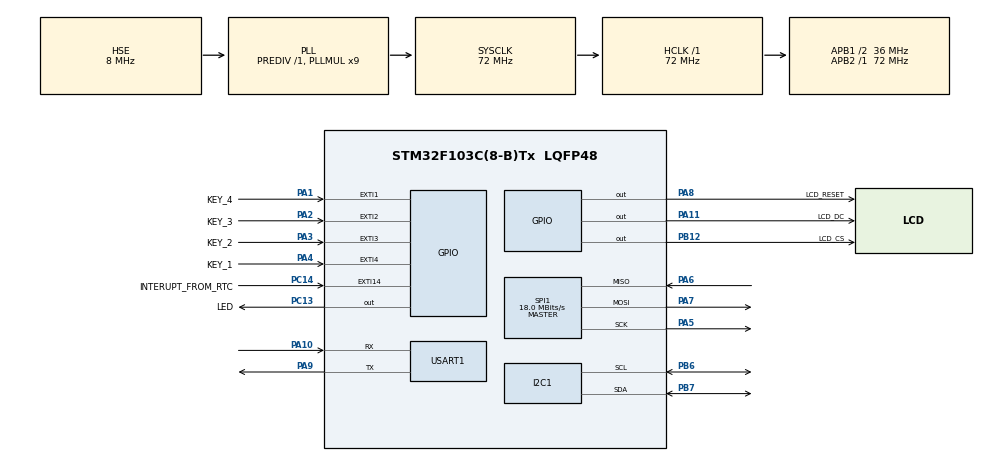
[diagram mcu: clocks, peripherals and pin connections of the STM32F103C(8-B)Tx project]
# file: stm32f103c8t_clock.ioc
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FREERTOS.BinarySemaphores01=LCD_Sem,Dynamic,NULL;set_rts_val_Sem,Dynamic,NULL;red_data_fron_rtc_Sem,Dynamic,NULL
FREERTOS.INCLUDE_eTaskGetState=1
FREERTOS.INCLUDE_uxTaskGetStackHighWaterMark=1
FREERTOS.INCLUDE_vTaskDelete=0
FREERTOS.Mutexes01=I2C_Mutex,Dynamic,NULL;read_data_rts_Mutex,Dynamic,NULL
FREERTOS.Queues01=UARTQueue,1,QUEUE_t,0,Static,UARTQueueBuffer,UARTQueueControlBlock;buttonQueue,2,uint16_t,0,Dynamic,NULL,NULL;THPQueue,2,QUEUE_BME280,0,Static,THPQueueBuffer,THPQueueControlBlock;rtc_queue,1,QUEUE_RTC,0,Static,rtc_queueBuffer,rtc_queueControlBlock;new_rtc_queue,2,QUEUE_NEW_RTC,0,Static,new_rtc_queueBuffer,new_rtc_queueControlBlock;QUEUE_RTC_VAL,2,QUEUE_RTC_VAL,0,Static,nev_val_queueBuffer,nev_val_queueControlBlock
FREERTOS.Tasks01=defaultTask,27,128,StartDefaultTask,Default,NULL,Dynamic,NULL,NULL;RTC_DS3231_Task,27,380,start_RTC_DS3231_Task,Default,NULL,Dynamic,NULL,NULL;BPE280_Task,28,200,start_BPE280_Task,Default,NULL,Dynamic,NULL,NULL;SET_RTS_TASK,27,380,start_SET_RTS_TASK,Default,NULL,Dynamic,NULL,NULL;UART_USB_Task,27,320,start_UART_USB_Task,Default,NULL,Dynamic,NULL,NULL;LCD_Task,27,360,start_LCD_Task,Default,NULL,Dynamic,NULL,NULL
FREERTOS.configGENERATE_RUN_TIME_STATS=1
FREERTOS.configTIMER_TASK_PRIORITY=24
FREERTOS.configTOTAL_HEAP_SIZE=9700
FREERTOS.configUSE_IDLE_HOOK=0
FREERTOS.configUSE_NEWLIB_REENTRANT=1
FREERTOS.configUSE_STATS_FORMATTING_FUNCTIONS=1
Mcu.Family=STM32F1
Mcu.Name=STM32F103C(8-B)Tx
Mcu.Package=LQFP48
NVIC.EXTI15_10_IRQn=true\:5\:0\:false\:false\:true\:true\:true\:true\:true
NVIC.EXTI1_IRQn=true\:5\:0\:true\:false\:true\:true\:true\:true\:true
NVIC.EXTI2_IRQn=true\:5\:0\:true\:false\:true\:true\:true\:true\:true
NVIC.EXTI3_IRQn=true\:5\:0\:true\:false\:true\:true\:true\:true\:true
NVIC.EXTI4_IRQn=true\:5\:0\:false\:false\:true\:true\:true\:true\:true
NVIC.PVD_IRQn=true\:5\:0\:false\:false\:true\:true\:true\:true\:true
NVIC.PriorityGroup=NVIC_PRIORITYGROUP_4
NVIC.SPI1_IRQn=true\:5\:0\:false\:false\:true\:true\:true\:true\:true
NVIC.TIM2_IRQn=true\:5\:0\:false\:false\:true\:true\:true\:true\:true
NVIC.TIM3_IRQn=true\:5\:0\:false\:false\:true\:true\:true\:true\:true
NVIC.TIM4_IRQn=true\:15\:0\:false\:false\:true\:false\:false\:true\:true
NVIC.TimeBase=TIM4_IRQn
NVIC.TimeBaseIP=TIM4
NVIC.USART1_IRQn=true\:5\:0\:false\:false\:true\:true\:true\:true\:true
PA1.GPIO_Label=KEY_4
PA1.GPIO_ModeDefaultEXTI=GPIO_MODE_IT_FALLING
PA1.GPIO_PuPd=GPIO_PULLUP
PA1.Signal=GPXTI1
PA10.Mode=Asynchronous
PA10.Signal=USART1_RX
PA11.GPIO_Label=LCD_DC
PA11.GPIO_Speed=GPIO_SPEED_FREQ_HIGH
PA11.Signal=GPIO_Output
PA13.Mode=Serial_Wire
PA13.Signal=SYS_JTMS-SWDIO
PA14.Mode=Serial_Wire
PA14.Signal=SYS_JTCK-SWCLK
PA2.GPIO_Label=KEY_3
PA2.GPIO_ModeDefaultEXTI=GPIO_MODE_IT_FALLING
PA2.GPIO_PuPd=GPIO_PULLUP
PA2.Signal=GPXTI2
PA3.GPIO_Label=KEY_2
PA3.GPIO_ModeDefaultEXTI=GPIO_MODE_IT_FALLING
PA3.GPIO_PuPd=GPIO_PULLUP
PA3.Signal=GPXTI3
PA4.GPIO_Label=KEY_1
PA4.GPIO_ModeDefaultEXTI=GPIO_MODE_IT_FALLING
PA4.GPIO_PuPd=GPIO_PULLUP
PA4.Signal=GPXTI4
PA5.Mode=Full_Duplex_Master
PA5.Signal=SPI1_SCK
PA6.Mode=Full_Duplex_Master
PA6.Signal=SPI1_MISO
PA7.Mode=Full_Duplex_Master
PA7.Signal=SPI1_MOSI
PA8.GPIO_Label=LCD_RESET
PA8.GPIO_Speed=GPIO_SPEED_FREQ_HIGH
PA8.Signal=GPIO_Output
PA9.Mode=Asynchronous
PA9.Signal=USART1_TX
PB12.GPIO_Label=LCD_CS
PB12.GPIO_Speed=GPIO_SPEED_FREQ_HIGH
PB12.PinState=GPIO_PIN_RESET
PB12.Signal=GPIO_Output
PB6.Mode=I2C
PB6.Signal=I2C1_SCL
PB7.Mode=I2C
PB7.Signal=I2C1_SDA
PC13-TAMPER-RTC.GPIO_Label=LED
PC13-TAMPER-RTC.GPIO_Speed=GPIO_SPEED_FREQ_LOW
PC13-TAMPER-RTC.PinState=GPIO_PIN_SET
PC13-TAMPER-RTC.Signal=GPIO_Output
PC14-OSC32_IN.GPIO_Label=INTERUPT_FROM_RTC
PC14-OSC32_IN.Signal=GPXTI14
PD0-OSC_IN.Mode=HSE-External-Oscillator
PD0-OSC_IN.Signal=RCC_OSC_IN
PD1-OSC_OUT.Mode=HSE-External-Oscillator
PD1-OSC_OUT.Signal=RCC_OSC_OUT
ProjectManager.HeapSize=0x200
ProjectManager.StackSize=0x400
ProjectManager.TargetToolchain=STM32CubeIDE
RCC.AHBFreq_Value=72000000
RCC.APB1CLKDivider=RCC_HCLK_DIV2
RCC.APB1Freq_Value=36000000
RCC.APB1TimFreq_Value=72000000
RCC.APB2Freq_Value=72000000
RCC.APB2TimFreq_Value=72000000
RCC.HCLKFreq_Value=72000000
RCC.PLLMUL=RCC_PLL_MUL9
RCC.PLLSourceVirtual=RCC_PLLSOURCE_HSE
RCC.SYSCLKFreq_VALUE=72000000
RCC.SYSCLKSource=RCC_SYSCLKSOURCE_PLLCLK
RCC.USBFreq_Value=72000000
SPI1.BaudRatePrescaler=SPI_BAUDRATEPRESCALER_4
SPI1.CalculateBaudRate=18.0 MBits/s
SPI1.Direction=SPI_DIRECTION_2LINES
SPI1.Mode=SPI_MODE_MASTER
SPI1.VirtualType=VM_MASTER
TIM2.AutoReloadPreload=TIM_AUTORELOAD_PRELOAD_ENABLE
TIM2.Period=10
TIM2.Prescaler=720
TIM3.AutoReloadPreload=TIM_AUTORELOAD_PRELOAD_ENABLE
TIM3.Period=500
TIM3.Prescaler=7200
USART1.VirtualMode=VM_ASYNC
VP_FREERTOS_VS_CMSIS_V2.Mode=CMSIS_V2
VP_SYS_VS_tim4.Mode=TIM4
VP_TIM2_VS_ClockSourceINT.Mode=Internal
VP_TIM3_VS_ClockSourceINT.Mode=Internal
board=custom

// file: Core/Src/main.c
/* USER CODE BEGIN Header */
/**
  ******************************************************************************
  * @file           : main.c
  * @brief          : Main program body
  ******************************************************************************
  * @attention
  *
  * Copyright (c) 2022 STMicroelectronics.
  * All rights reserved.
  *
  * This software is licensed under terms that can be found in the LICENSE file
  * in the root directory of this software component.
  * If no LICENSE file comes with this software, it is provided AS-IS.
  *
  ******************************************************************************
  */
/* USER CODE END Header */
#include "main.h"
#include "cmsis_os.h"

/* USER CODE BEGIN Includes */
#include "ILI9341/ILI9341_STM32_Driver.h"
#include "ILI9341/ILI9341_GFX.h"
#include "ILI9341/snow_tiger.h"
#include "ds3231/ds3231.h"
#include "bme280/bme280.h"
#include "task.h"

#include "stdlib.h"
#include "queue.h"
#include <stdio.h>
#include <string.h>

// Define for turn On/Off task recourse management
#define ON 1
#define OFF 0
#define RESOURCES OFF

/////// For task management
#if RESOURCES
	volatile unsigned long ulHighFreqebcyTimerTicks;		// This variable using for calculate how many time all tasks was running.
	char str_management_memory_str[500] = {0};
	int freemem = 0;
	uint32_t tim_val = 0;
	typedef struct 							// Queue for UARD
	{
		char Buf[612];
	}QUEUE_t;
#else
	volatile unsigned long ulHighFreqebcyTimerTicks;		// This variable using for calculate how many time all tasks was running.
	//char str_management_memory_str[500] = {0};
	//int freemem = 0;
	//uint32_t tim_val = 0;
	typedef struct 							// Queue for UARD
	{
		char Buf[1];
	}QUEUE_t;
#endif
////////////////////////////

typedef struct
{
	float pressure;
	float temperature;
	float humidity;
}QUEUE_BME280;

// For button debounce
uint32_t previousMillis = 0;
uint32_t currentMillis = 0;

// RTC
typedef struct
{
  uint8_t Year;
  uint8_t Month;
  uint8_t Date;
  uint8_t DaysOfWeek;
  uint8_t Hour;
  uint8_t Min;
  uint8_t Sec;
} QUEUE_RTC;

// For new date and time for RTC
typedef struct
{
  uint8_t Year;
  uint8_t Month;
  uint8_t Date;
  uint8_t DaysOfWeek;
  uint8_t Hour;
  uint8_t Min;
  uint8_t Sec;
} QUEUE_NEW_RTC;

bool print_first_time_on_lcd_flag = true;

// for set and print new value date and time
typedef struct
{
	int new_value;
	char name[20];
}QUEUE_RTC_VAL;

bool state = true;				// Trigger state for keyboard

/* USER CODE END Includes */

typedef StaticQueue_t osStaticMessageQDef_t;

 I2C_HandleTypeDef hi2c1;

SPI_HandleTypeDef hspi1;

TIM_HandleTypeDef htim2;
TIM_HandleTypeDef htim3;

UART_HandleTypeDef huart1;

/* Definitions for defaultTask */
osThreadId_t defaultTaskHandle;
const osThreadAttr_t defaultTask_attributes = {
  .name = "defaultTask",
  .stack_size = 128 * 4,
  .priority = (osPriority_t) osPriorityNormal3,
};
/* Definitions for RTC_DS3231_Task */
osThreadId_t RTC_DS3231_TaskHandle;
const osThreadAttr_t RTC_DS3231_Task_attributes = {
  .name = "RTC_DS3231_Task",
  .stack_size = 380 * 4,
  .priority = (osPriority_t) osPriorityNormal3,
};
/* Definitions for BPE280_Task */
osThreadId_t BPE280_TaskHandle;
const osThreadAttr_t BPE280_Task_attributes = {
  .name = "BPE280_Task",
  .stack_size = 200 * 4,
  .priority = (osPriority_t) osPriorityNormal4,
};
/* Definitions for SET_RTS_TASK */
osThreadId_t SET_RTS_TASKHandle;
const osThreadAttr_t SET_RTS_TASK_attributes = {
  .name = "SET_RTS_TASK",
  .stack_size = 380 * 4,
  .priority = (osPriority_t) osPriorityNormal3,
};
/* Definitions for UART_USB_Task */
osThreadId_t UART_USB_TaskHandle;
const osThreadAttr_t UART_USB_Task_attributes = {
  .name = "UART_USB_Task",
  .stack_size = 320 * 4,
  .priority = (osPriority_t) osPriorityNormal3,
};
/* Definitions for LCD_Task */
osThreadId_t LCD_TaskHandle;
const osThreadAttr_t LCD_Task_attributes = {
  .name = "LCD_Task",
  .stack_size = 360 * 4,
  .priority = (osPriority_t) osPriorityNormal3,
};
/* Definitions for UARTQueue */
osMessageQueueId_t UARTQueueHandle;
uint8_t UARTQueueBuffer[ 1 * sizeof( QUEUE_t ) ];
osStaticMessageQDef_t UARTQueueControlBlock;
const osMessageQueueAttr_t UARTQueue_attributes = {
  .name = "UARTQueue",
  .cb_mem = &UARTQueueControlBlock,
  .cb_size = sizeof(UARTQueueControlBlock),
  .mq_mem = &UARTQueueBuffer,
  .mq_size = sizeof(UARTQueueBuffer)
};
/* Definitions for buttonQueue */
osMessageQueueId_t buttonQueueHandle;
const osMessageQueueAttr_t buttonQueue_attributes = {
  .name = "buttonQueue"
};
/* Definitions for THPQueue */
osMessageQueueId_t THPQueueHandle;
uint8_t THPQueueBuffer[ 2 * sizeof( QUEUE_BME280 ) ];
osStaticMessageQDef_t THPQueueControlBlock;
const osMessageQueueAttr_t THPQueue_attributes = {
  .name = "THPQueue",
  .cb_mem = &THPQueueControlBlock,
  .cb_size = sizeof(THPQueueControlBlock),
  .mq_mem = &THPQueueBuffer,
  .mq_size = sizeof(THPQueueBuffer)
};
/* Definitions for rtc_queue */
osMessageQueueId_t rtc_queueHandle;
uint8_t rtc_queueBuffer[ 1 * sizeof( QUEUE_RTC ) ];
osStaticMessageQDef_t rtc_queueControlBlock;
const osMessageQueueAttr_t rtc_queue_attributes = {
  .name = "rtc_queue",
  .cb_mem = &rtc_queueControlBlock,
  .cb_size = sizeof(rtc_queueControlBlock),
  .mq_mem = &rtc_queueBuffer,
  .mq_size = sizeof(rtc_queueBuffer)
};
/* Definitions for new_rtc_queue */
osMessageQueueId_t new_rtc_queueHandle;
uint8_t new_rtc_queueBuffer[ 2 * sizeof( QUEUE_NEW_RTC ) ];
osStaticMessageQDef_t new_rtc_queueControlBlock;
const osMessageQueueAttr_t new_rtc_queue_attributes = {
  .name = "new_rtc_queue",
  .cb_mem = &new_rtc_queueControlBlock,
  .cb_size = sizeof(new_rtc_queueControlBlock),
  .mq_mem = &new_rtc_queueBuffer,
  .mq_size = sizeof(new_rtc_queueBuffer)
};
/* Definitions for QUEUE_RTC_VAL */
osMessageQueueId_t QUEUE_RTC_VALHandle;
uint8_t nev_val_queueBuffer[ 2 * sizeof( QUEUE_RTC_VAL ) ];
osStaticMessageQDef_t nev_val_queueControlBlock;
const osMessageQueueAttr_t QUEUE_RTC_VAL_attributes = {
  .name = "QUEUE_RTC_VAL",
  .cb_mem = &nev_val_queueControlBlock,
  .cb_size = sizeof(nev_val_queueControlBlock),
  .mq_mem = &nev_val_queueBuffer,
  .mq_size = sizeof(nev_val_queueBuffer)
};
/* Definitions for I2C_Mutex */
osMutexId_t I2C_MutexHandle;
const osMutexAttr_t I2C_Mutex_attributes = {
  .name = "I2C_Mutex"
};
/* Definitions for read_data_rts_Mutex */
osMutexId_t read_data_rts_MutexHandle;
const osMutexAttr_t read_data_rts_Mutex_attributes = {
  .name = "read_data_rts_Mutex"
};
/* Definitions for LCD_Sem */
osSemaphoreId_t LCD_SemHandle;
const osSemaphoreAttr_t LCD_Sem_attributes = {
  .name = "LCD_Sem"
};
/* Definitions for set_rts_val_Sem */
osSemaphoreId_t set_rts_val_SemHandle;
const osSemaphoreAttr_t set_rts_val_Sem_attributes = {
  .name = "set_rts_val_Sem"
};
/* Definitions for red_data_fron_rtc_Sem */
osSemaphoreId_t red_data_fron_rtc_SemHandle;
const osSemaphoreAttr_t red_data_fron_rtc_Sem_attributes = {
  .name = "red_data_fron_rtc_Sem"
};
/* USER CODE BEGIN PV */

// -------------------------------------------------------------------------
HAL_GPIO_EXTI_Callback(uint16_t GPIO_Pin)
{
	if(GPIO_Pin == INTERUPT_FROM_RTC_Pin)										// Interrupt signal every seconds fron RTS module pin
	{
		osSemaphoreRelease(red_data_fron_rtc_SemHandle);						// Lets RTS task read data from ds3231
	}

	// Detect pressed key (interrupt)  (debounce method)
	if(((GPIO_Pin == KEY_1_Pin) && (state == true)) || ((GPIO_Pin == KEY_2_Pin) && (state == true))
			|| ((GPIO_Pin == KEY_3_Pin) && (state == true)) || ((GPIO_Pin == KEY_4_Pin) && (state == true)))
	{
		HAL_TIM_Base_Start_IT(&htim3);
		state = false;
	}
	else
	{
		__NOP();
	}
}
// -------------------------------------------------------------------------
// Create GLOBAL QUEUEs
QUEUE_RTC QUEUE_RTC_t;
QUEUE_BME280 QUEUE_BME280_t;
QUEUE_NEW_RTC QUEUE_NEW_RTC_t;
QUEUE_RTC_VAL QUEUE_RTC_VAL_t;

/* USER CODE END PV */

void SystemClock_Config(void);
static void MX_GPIO_Init(void);
static void MX_SPI1_Init(void);
static void MX_I2C1_Init(void);
static void MX_USART1_UART_Init(void);
static void MX_TIM2_Init(void);
static void MX_TIM3_Init(void);
void StartDefaultTask(void *argument);
void start_RTC_DS3231_Task(void *argument);
void start_BPE280_Task(void *argument);
void start_SET_RTS_TASK(void *argument);
void start_UART_USB_Task(void *argument);
void start_LCD_Task(void *argument);

int main(void)
{

  /* MCU Configuration--------------------------------------------------------*/

  /* Reset of all peripherals, Initializes the Flash interface and the Systick. */
  HAL_Init();

  /* Configure the system clock */
  SystemClock_Config();

  /* Initialize all configured peripherals */
  MX_GPIO_Init();
  MX_SPI1_Init();
  MX_I2C1_Init();
  MX_USART1_UART_Init();
  MX_TIM2_Init();
  MX_TIM3_Init();
  /* USER CODE BEGIN 2 */

  DS3231_Init(&hi2c1);

  /* USER CODE END 2 */

  /* Init scheduler */
  osKernelInitialize();
  /* Create the mutex(es) */
  /* creation of I2C_Mutex */
  I2C_MutexHandle = osMutexNew(&I2C_Mutex_attributes);

  /* creation of read_data_rts_Mutex */
  read_data_rts_MutexHandle = osMutexNew(&read_data_rts_Mutex_attributes);

  /* Create the semaphores(s) */
  /* creation of LCD_Sem */
  LCD_SemHandle = osSemaphoreNew(1, 1, &LCD_Sem_attributes);

  /* creation of set_rts_val_Sem */
  set_rts_val_SemHandle = osSemaphoreNew(1, 1, &set_rts_val_Sem_attributes);

  /* creation of red_data_fron_rtc_Sem */
  red_data_fron_rtc_SemHandle = osSemaphoreNew(1, 1, &red_data_fron_rtc_Sem_attributes);

  /* Create the queue(s) */
  /* creation of UARTQueue */
  UARTQueueHandle = osMessageQueueNew (1, sizeof(QUEUE_t), &UARTQueue_attributes);

  /* creation of buttonQueue */
  buttonQueueHandle = osMessageQueueNew (2, sizeof(uint16_t), &buttonQueue_attributes);

  /* creation of THPQueue */
  THPQueueHandle = osMessageQueueNew (2, sizeof(QUEUE_BME280), &THPQueue_attributes);

  /* creation of rtc_queue */
  rtc_queueHandle = osMessageQueueNew (1, sizeof(QUEUE_RTC), &rtc_queue_attributes);

  /* creation of new_rtc_queue */
  new_rtc_queueHandle = osMessageQueueNew (2, sizeof(QUEUE_NEW_RTC), &new_rtc_queue_attributes);

  /* creation of QUEUE_RTC_VAL */
  QUEUE_RTC_VALHandle = osMessageQueueNew (2, sizeof(QUEUE_RTC_VAL), &QUEUE_RTC_VAL_attributes);

  /* Create the thread(s) */
  /* creation of defaultTask */
  defaultTaskHandle = osThreadNew(StartDefaultTask, NULL, &defaultTask_attributes);

  /* creation of RTC_DS3231_Task */
  RTC_DS3231_TaskHandle = osThreadNew(start_RTC_DS3231_Task, NULL, &RTC_DS3231_Task_attributes);

  /* creation of BPE280_Task */
  BPE280_TaskHandle = osThreadNew(start_BPE280_Task, NULL, &BPE280_Task_attributes);

  /* creation of SET_RTS_TASK */
  SET_RTS_TASKHandle = osThreadNew(start_SET_RTS_TASK, NULL, &SET_RTS_TASK_attributes);

  /* creation of UART_USB_Task */
  UART_USB_TaskHandle = osThreadNew(start_UART_USB_Task, NULL, &UART_USB_Task_attributes);

  /* creation of LCD_Task */
  LCD_TaskHandle = osThreadNew(start_LCD_Task, NULL, &LCD_Task_attributes);

  /* USER CODE BEGIN RTOS_THREADS */

  HAL_TIM_Base_Start_IT(&htim2);		//  This TIM3 using for calculate how many time all tasks was running.
  /* USER CODE END RTOS_THREADS */

  /* Start scheduler */
  osKernelStart();

  /* We should never get here as control is now taken by the scheduler */
  /* Infinite loop */
  while (1)
  {

  }
}

void SystemClock_Config(void)
{
  RCC_OscInitTypeDef RCC_OscInitStruct = {0};
  RCC_ClkInitTypeDef RCC_ClkInitStruct = {0};

  /** Initializes the RCC Oscillators according to the specified parameters
  * in the RCC_OscInitTypeDef structure.
  */
  RCC_OscInitStruct.OscillatorType = RCC_OSCILLATORTYPE_HSE;
  RCC_OscInitStruct.HSEState = RCC_HSE_ON;
  RCC_OscInitStruct.HSEPredivValue = RCC_HSE_PREDIV_DIV1;
  RCC_OscInitStruct.HSIState = RCC_HSI_ON;
  RCC_OscInitStruct.PLL.PLLState = RCC_PLL_ON;
  RCC_OscInitStruct.PLL.PLLSource = RCC_PLLSOURCE_HSE;
  RCC_OscInitStruct.PLL.PLLMUL = RCC_PLL_MUL9;
  if (HAL_RCC_OscConfig(&RCC_OscInitStruct) != HAL_OK)
  {
    Error_Handler();
  }

  /** Initializes the CPU, AHB and APB buses clocks
  */
  RCC_ClkInitStruct.ClockType = RCC_CLOCKTYPE_HCLK|RCC_CLOCKTYPE_SYSCLK
                              |RCC_CLOCKTYPE_PCLK1|RCC_CLOCKTYPE_PCLK2;
  RCC_ClkInitStruct.SYSCLKSource = RCC_SYSCLKSOURCE_PLLCLK;
  RCC_ClkInitStruct.AHBCLKDivider = RCC_SYSCLK_DIV1;
  RCC_ClkInitStruct.APB1CLKDivider = RCC_HCLK_DIV2;
  RCC_ClkInitStruct.APB2CLKDivider = RCC_HCLK_DIV1;

  if (HAL_RCC_ClockConfig(&RCC_ClkInitStruct, FLASH_LATENCY_2) != HAL_OK)
  {
    Error_Handler();
  }
}

static void MX_I2C1_Init(void)
{

  hi2c1.Instance = I2C1;
  hi2c1.Init.ClockSpeed = 100000;
  hi2c1.Init.DutyCycle = I2C_DUTYCYCLE_2;
  hi2c1.Init.OwnAddress1 = 0;
  hi2c1.Init.AddressingMode = I2C_ADDRESSINGMODE_7BIT;
  hi2c1.Init.DualAddressMode = I2C_DUALADDRESS_DISABLE;
  hi2c1.Init.OwnAddress2 = 0;
  hi2c1.Init.GeneralCallMode = I2C_GENERALCALL_DISABLE;
  hi2c1.Init.NoStretchMode = I2C_NOSTRETCH_DISABLE;
  if (HAL_I2C_Init(&hi2c1) != HAL_OK)
  {
    Error_Handler();
  }

}

static void MX_SPI1_Init(void)
{

  /* SPI1 parameter configuration*/
  hspi1.Instance = SPI1;
  hspi1.Init.Mode = SPI_MODE_MASTER;
  hspi1.Init.Direction = SPI_DIRECTION_2LINES;
  hspi1.Init.DataSize = SPI_DATASIZE_8BIT;
  hspi1.Init.CLKPolarity = SPI_POLARITY_LOW;
  hspi1.Init.CLKPhase = SPI_PHASE_1EDGE;
  hspi1.Init.NSS = SPI_NSS_SOFT;
  hspi1.Init.BaudRatePrescaler = SPI_BAUDRATEPRESCALER_4;
  hspi1.Init.FirstBit = SPI_FIRSTBIT_MSB;
  hspi1.Init.TIMode = SPI_TIMODE_DISABLE;
  hspi1.Init.CRCCalculation = SPI_CRCCALCULATION_DISABLE;
  hspi1.Init.CRCPolynomial = 10;
  if (HAL_SPI_Init(&hspi1) != HAL_OK)
  {
    Error_Handler();
  }

}

static void MX_TIM2_Init(void)
{

  TIM_ClockConfigTypeDef sClockSourceConfig = {0};
  TIM_MasterConfigTypeDef sMasterConfig = {0};

  htim2.Instance = TIM2;
  htim2.Init.Prescaler = 720;
  htim2.Init.CounterMode = TIM_COUNTERMODE_UP;
  htim2.Init.Period = 10;
  htim2.Init.ClockDivision = TIM_CLOCKDIVISION_DIV1;
  htim2.Init.AutoReloadPreload = TIM_AUTORELOAD_PRELOAD_ENABLE;
  if (HAL_TIM_Base_Init(&htim2) != HAL_OK)
  {
    Error_Handler();
  }
  sClockSourceConfig.ClockSource = TIM_CLOCKSOURCE_INTERNAL;
  if (HAL_TIM_ConfigClockSource(&htim2, &sClockSourceConfig) != HAL_OK)
  {
    Error_Handler();
  }
  sMasterConfig.MasterOutputTrigger = TIM_TRGO_RESET;
  sMasterConfig.MasterSlaveMode = TIM_MASTERSLAVEMODE_DISABLE;
  if (HAL_TIMEx_MasterConfigSynchronization(&htim2, &sMasterConfig) != HAL_OK)
  {
    Error_Handler();
  }

}

static void MX_TIM3_Init(void)
{

  TIM_ClockConfigTypeDef sClockSourceConfig = {0};
  TIM_MasterConfigTypeDef sMasterConfig = {0};

  htim3.Instance = TIM3;
  htim3.Init.Prescaler = 7200;
  htim3.Init.CounterMode = TIM_COUNTERMODE_UP;
  htim3.Init.Period = 500;
  htim3.Init.ClockDivision = TIM_CLOCKDIVISION_DIV1;
  htim3.Init.AutoReloadPreload = TIM_AUTORELOAD_PRELOAD_ENABLE;
  if (HAL_TIM_Base_Init(&htim3) != HAL_OK)
  {
    Error_Handler();
  }
  sClockSourceConfig.ClockSource = TIM_CLOCKSOURCE_INTERNAL;
  if (HAL_TIM_ConfigClockSource(&htim3, &sClockSourceConfig) != HAL_OK)
  {
    Error_Handler();
  }
  sMasterConfig.MasterOutputTrigger = TIM_TRGO_RESET;
  sMasterConfig.MasterSlaveMode = TIM_MASTERSLAVEMODE_DISABLE;
  if (HAL_TIMEx_MasterConfigSynchronization(&htim3, &sMasterConfig) != HAL_OK)
  {
    Error_Handler();
  }

}

static void MX_USART1_UART_Init(void)
{

  huart1.Instance = USART1;
  huart1.Init.BaudRate = 115200;
  huart1.Init.WordLength = UART_WORDLENGTH_8B;
  huart1.Init.StopBits = UART_STOPBITS_1;
  huart1.Init.Parity = UART_PARITY_NONE;
  huart1.Init.Mode = UART_MODE_TX_RX;
  huart1.Init.HwFlowCtl = UART_HWCONTROL_NONE;
  huart1.Init.OverSampling = UART_OVERSAMPLING_16;
  if (HAL_UART_Init(&huart1) != HAL_OK)
  {
    Error_Handler();
  }

}

static void MX_GPIO_Init(void)
{
  GPIO_InitTypeDef GPIO_InitStruct = {0};

  /* GPIO Ports Clock Enable */
  __HAL_RCC_GPIOC_CLK_ENABLE();
  __HAL_RCC_GPIOD_CLK_ENABLE();
  __HAL_RCC_GPIOA_CLK_ENABLE();
  __HAL_RCC_GPIOB_CLK_ENABLE();

  /*Configure GPIO pin Output Level */
  HAL_GPIO_WritePin(LED_GPIO_Port, LED_Pin, GPIO_PIN_SET);

  /*Configure GPIO pin Output Level */
  HAL_GPIO_WritePin(LCD_CS_GPIO_Port, LCD_CS_Pin, GPIO_PIN_RESET);

  /*Configure GPIO pin Output Level */
  HAL_GPIO_WritePin(GPIOA, LCD_RESET_Pin|LCD_DC_Pin, GPIO_PIN_RESET);

  /*Configure GPIO pin : LED_Pin */
  GPIO_InitStruct.Pin = LED_Pin;
  GPIO_InitStruct.Mode = GPIO_MODE_OUTPUT_PP;
  GPIO_InitStruct.Pull = GPIO_NOPULL;
  GPIO_InitStruct.Speed = GPIO_SPEED_FREQ_LOW;
  HAL_GPIO_Init(LED_GPIO_Port, &GPIO_InitStruct);

  /*Configure GPIO pin : INTERUPT_FROM_RTC_Pin */
  GPIO_InitStruct.Pin = INTERUPT_FROM_RTC_Pin;
  GPIO_InitStruct.Mode = GPIO_MODE_IT_RISING;
  GPIO_InitStruct.Pull = GPIO_NOPULL;
  HAL_GPIO_Init(INTERUPT_FROM_RTC_GPIO_Port, &GPIO_InitStruct);

  /*Configure GPIO pins : KEY_4_Pin KEY_3_Pin KEY_2_Pin KEY_1_Pin */
  GPIO_InitStruct.Pin = KEY_4_Pin|KEY_3_Pin|KEY_2_Pin|KEY_1_Pin;
  GPIO_InitStruct.Mode = GPIO_MODE_IT_FALLING;
  GPIO_InitStruct.Pull = GPIO_PULLUP;
  HAL_GPIO_Init(GPIOA, &GPIO_InitStruct);

  /*Configure GPIO pin : LCD_CS_Pin */
  GPIO_InitStruct.Pin = LCD_CS_Pin;
  GPIO_InitStruct.Mode = GPIO_MODE_OUTPUT_PP;
  GPIO_InitStruct.Pull = GPIO_NOPULL;
  GPIO_InitStruct.Speed = GPIO_SPEED_FREQ_HIGH;
  HAL_GPIO_Init(LCD_CS_GPIO_Port, &GPIO_InitStruct);

  /*Configure GPIO pins : LCD_RESET_Pin LCD_DC_Pin */
  GPIO_InitStruct.Pin = LCD_RESET_Pin|LCD_DC_Pin;
  GPIO_InitStruct.Mode = GPIO_MODE_OUTPUT_PP;
  GPIO_InitStruct.Pull = GPIO_NOPULL;
  GPIO_InitStruct.Speed = GPIO_SPEED_FREQ_HIGH;
  HAL_GPIO_Init(GPIOA, &GPIO_InitStruct);

  /* EXTI interrupt init*/
  HAL_NVIC_SetPriority(EXTI1_IRQn, 5, 0);
  HAL_NVIC_EnableIRQ(EXTI1_IRQn);

  HAL_NVIC_SetPriority(EXTI2_IRQn, 5, 0);
  HAL_NVIC_EnableIRQ(EXTI2_IRQn);

  HAL_NVIC_SetPriority(EXTI3_IRQn, 5, 0);
  HAL_NVIC_EnableIRQ(EXTI3_IRQn);

  HAL_NVIC_SetPriority(EXTI4_IRQn, 5, 0);
  HAL_NVIC_EnableIRQ(EXTI4_IRQn);

  HAL_NVIC_SetPriority(EXTI15_10_IRQn, 5, 0);
  HAL_NVIC_EnableIRQ(EXTI15_10_IRQn);

}

void StartDefaultTask(void *argument)
{
  /* USER CODE BEGIN 5 */
  /* Infinite loop */

	for(;;)
	{
	  osDelay(1000);
	}
  /* USER CODE END 5 */
}

void start_RTC_DS3231_Task(void *argument)
{
  /* USER CODE BEGIN start_RTC_DS3231_Task */
  /* Infinite loop */
//	QUEUE_RTC QUEUE_RTC_t;
//	QUEUE_NEW_RTC QUEUE_NEW_RTC_t;
	_RTC time;

	// Init DS3231 RTC module
	// Turn on interrupt PIN on RTC module every one second
	uint8_t buff = 0;
	ReadRegister(14, &buff);
	buff = buff & 0b11100011;
	WriteRegister(14, buff);

	for(;;)
	{
		if(xQueueReceive(new_rtc_queueHandle , &QUEUE_NEW_RTC_t, 0) == pdTRUE)			// Waiting to new rts time and data
		{
			// Set new time and data
			time.Year = QUEUE_NEW_RTC_t.Year;
			time.Month = QUEUE_NEW_RTC_t.Month;
			time.Date = QUEUE_NEW_RTC_t.Date ;
			time.DaysOfWeek = QUEUE_NEW_RTC_t.DaysOfWeek;
			time.Hour = QUEUE_NEW_RTC_t.Hour;
			time.Min = QUEUE_NEW_RTC_t.Min;
			time.Sec = QUEUE_NEW_RTC_t.Sec;

			if(osMutexAcquire (I2C_MutexHandle, 1) == osOK)
			{
				if(osMutexAcquire (read_data_rts_MutexHandle, 1) == osOK)		// Protest data
				{
					DS3231_SetTime(&time);
					DS3231_GetTime(&time);										// Read new saved date and time from RTS module

					// Fill in structure of queue
					QUEUE_RTC_t.Year = time.Year;
					QUEUE_RTC_t.Month = time.Month;
					QUEUE_RTC_t.Date = time.Date;
					QUEUE_RTC_t.DaysOfWeek = time.DaysOfWeek;
					QUEUE_RTC_t.Hour = time.Hour;
					QUEUE_RTC_t.Min = time.Min;
					QUEUE_RTC_t.Sec = time.Sec;

					if(xQueueOverwrite( rtc_queueHandle,  &QUEUE_RTC_t ) != pdPASS)					// Send current time over queue
					// Give back semaphore
					osSemaphoreRelease(LCD_SemHandle);			// Let print time and date on start_LCD_Task
					print_first_time_on_lcd_flag = true;		// Set for go print all data on LCD
				}
				osMutexRelease(read_data_rts_MutexHandle);
			}
			osMutexRelease(I2C_MutexHandle);
		}

		if (osSemaphoreAcquire(red_data_fron_rtc_SemHandle, 10) == osOK)		// If was interrupt from RTC PIN module then read data from RTS module
		{
			if(osMutexAcquire (I2C_MutexHandle, 1) == osOK)
			{
				DS3231_GetTime(&time);
			}
			osMutexRelease(I2C_MutexHandle);

			// Fill in structure of queue
			QUEUE_RTC_t.Year = time.Year;
			QUEUE_RTC_t.Month = time.Month;
			QUEUE_RTC_t.Date = time.Date;
			QUEUE_RTC_t.DaysOfWeek = time.DaysOfWeek;
			QUEUE_RTC_t.Hour = time.Hour;
			QUEUE_RTC_t.Min = time.Min;
			QUEUE_RTC_t.Sec = time.Sec;

			if(xQueueSend(rtc_queueHandle, &QUEUE_RTC_t, 0) != pdPASS)					// Send current time over queue
			{
				// ERROR
			}
			// Give semaphore
			osSemaphoreRelease(LCD_SemHandle);		// Let print time and date on start_LCD_Task
		}
	}
  /* USER CODE END start_RTC_DS3231_Task */
}

void start_BPE280_Task(void *argument)
{
  /* USER CODE BEGIN start_BPE280_Task */
  /* Infinite loop */

	//osDelay(500);

	//QUEUE_BME280 QUEUE_BME280_t;
	BMP280_HandleTypedef bmp280;
	float pressure, temperature, humidity;

	// Init BME280
	if(osMutexAcquire (I2C_MutexHandle, 1) == osOK)				// Protest I2C
	{
		bmp280_init_default_params(&bmp280.params);
		bmp280.addr = BMP280_I2C_ADDRESS_0;
		bmp280.i2c = &hi2c1;

		if(bmp280_init(&bmp280, &bmp280.params) != true)
		{
			while(1){}   								// ERROR
		}

		bool bme280p = bmp280.id == BME280_CHIP_ID;
	}
	osMutexRelease(I2C_MutexHandle);

	for(;;)
	{
		if(osMutexAcquire (I2C_MutexHandle, 1) == osOK)						// Protest I2C
		{
			if((bmp280_read_float(&bmp280, &temperature, &pressure, &humidity)) != true)
			{
				while(1){}								// ERROR
			}
			else										// IF all okay. Send data into QUEUE to the main task
			{
				// Fill in fields of struct
				QUEUE_BME280_t.temperature = temperature;
				QUEUE_BME280_t.humidity = humidity;
				QUEUE_BME280_t.pressure = pressure;

				int status_queue = xQueueSend(THPQueueHandle, &QUEUE_BME280_t, 0);		// Send data into queue
				if(status_queue != pdPASS)
				{
					// ERROR
				}
				// Give semaphore
				osSemaphoreRelease(LCD_SemHandle);		// Let print T, H and P on start_LCD_Task
			}
		}
		osMutexRelease(I2C_MutexHandle);

		osDelay(5000);
	}
  /* USER CODE END start_BPE280_Task */
}

void start_SET_RTS_TASK(void *argument)
{
  /* USER CODE BEGIN start_SET_RTS_TASK */
  /* Infinite loop */
	for(;;)
	{
		uint16_t pressed_key, status_queue = 0;

		if(osSemaphoreAcquire(set_rts_val_SemHandle, 10) == osOK)					// Waiting on the press any button
		{
			if (xQueueReceive( buttonQueueHandle , &pressed_key, 0 ) == pdTRUE)		// Read witch button was pressed
			{
				static int8_t setet_type = 1;

				static int8_t yaer = 1;
				static int8_t month = 1;
				static int8_t date = 1;
				static int8_t day_of_week = 1;
				static int8_t hour = 1;
				static int8_t minute = 1;
				static int8_t second = 1;

				osThreadSuspend(RTC_DS3231_TaskHandle);								// Stop task, and stop print RTC data on LCD
				osThreadSuspend(BPE280_TaskHandle);									// Stop task, and stop print BME280 data on LCD

				QUEUE_RTC_VAL_t.new_value = 0;
				memset(QUEUE_RTC_VAL_t.name, 0, sizeof(QUEUE_RTC_VAL_t.name));

				switch (setet_type)
				{
					case 1:
						// set years
						memset(QUEUE_RTC_VAL_t.name , 0, sizeof(QUEUE_RTC_VAL_t.name));
						strcat(QUEUE_RTC_VAL_t.name, "Year: ");			// Set the setings value

						if(pressed_key == 2)
						{
							yaer--;
							if(yaer < 0)
							{
								yaer = 99;
							}
						}

						if(pressed_key == 3)
						{
							yaer++;
							if(yaer > 99)
							{
								yaer = 0;
							}
						}

						QUEUE_RTC_VAL_t.new_value = yaer;

						xQueueSend(QUEUE_RTC_VALHandle, &QUEUE_RTC_VAL_t, 0);		// Save new value on LCD
						osSemaphoreRelease(LCD_SemHandle);							// Let show new value on LCD

						if(pressed_key == 4)		// Save data
						{
							QUEUE_NEW_RTC_t.Year = QUEUE_RTC_VAL_t.new_value;		// Save new selected value in queue for rts
							setet_type++;											// Go to next case
							QUEUE_RTC_VAL_t.new_value = 1;							// init next value
						}
						break;

					case 2:
						// set month
						memset(QUEUE_RTC_VAL_t.name , 0, sizeof(QUEUE_RTC_VAL_t.name));
						strcat(QUEUE_RTC_VAL_t.name, "Month: ");			// Set the setings value

						if(pressed_key == 2)
						{
							month--;
							if(month < 1)
							{
								month = 12;
							}
						}

						if(pressed_key == 3)
						{
							month++;
							if(month > 12)
							{
								month = 1;
							}
						}

						QUEUE_RTC_VAL_t.new_value = month;

						xQueueSend(QUEUE_RTC_VALHandle, &QUEUE_RTC_VAL_t, 0);
						osSemaphoreRelease(LCD_SemHandle);

						if(pressed_key == 4)		// Save data
						{
							QUEUE_NEW_RTC_t.Month = QUEUE_RTC_VAL_t.new_value;
							setet_type++;
							QUEUE_RTC_VAL_t.new_value = 1;
						}
						break;

					case 3:
						// set Date
						memset(QUEUE_RTC_VAL_t.name , 0, sizeof(QUEUE_RTC_VAL_t.name));
						strcat(QUEUE_RTC_VAL_t.name, "Date: ");			// Set the setings value

						if(pressed_key == 2)
						{
							date--;
							if(date < 1)
							{
								date = 31;
							}
						}

						if(pressed_key == 3)
						{
							date++;
							if(date > 31)
							{
								date = 1;
							}
						}

						QUEUE_RTC_VAL_t.new_value = date;

						xQueueSend(QUEUE_RTC_VALHandle, &QUEUE_RTC_VAL_t, 0);
						osSemaphoreRelease(LCD_SemHandle);

						if(pressed_key == 4)		// Save data
						{
							QUEUE_NEW_RTC_t.Date = QUEUE_RTC_VAL_t.new_value;
							setet_type++;
							QUEUE_RTC_VAL_t.new_value = 1;
						}
						break;

					case 4:
						// set DaysOfWeek
						memset(QUEUE_RTC_VAL_t.name , 0, sizeof(QUEUE_RTC_VAL_t.name));
						strcat(QUEUE_RTC_VAL_t.name, "Day of week: ");			// Set the setings value

						if(pressed_key == 2)
						{
							day_of_week--;
							if(day_of_week < 1)
							{
								day_of_week = 7;
							}
						}

						if(pressed_key == 3)
						{
							day_of_week++;
							if(day_of_week > 7)
							{
								day_of_week = 1;
							}
						}

						QUEUE_RTC_VAL_t.new_value = day_of_week;

						xQueueSend(QUEUE_RTC_VALHandle, &QUEUE_RTC_VAL_t, 0);
						osSemaphoreRelease(LCD_SemHandle);

						if(pressed_key == 4)		// Save data
						{
							QUEUE_NEW_RTC_t.DaysOfWeek = QUEUE_RTC_VAL_t.new_value;
							setet_type++;
							QUEUE_RTC_VAL_t.new_value = 1;
						}
						break;

					case 5:
						// set Hour
						memset(QUEUE_RTC_VAL_t.name , 0, sizeof(QUEUE_RTC_VAL_t.name));
						strcat(QUEUE_RTC_VAL_t.name, "Hour: ");			// Set the setings value

						if(pressed_key == 2)
						{
							hour--;

							if(hour < 0)
							{
								hour = 24;
							}
						}

						if(pressed_key == 3)
						{
							hour++;
							if(hour > 24)
							{
								hour = 0;
							}
						}

						QUEUE_RTC_VAL_t.new_value = hour;

						xQueueSend(QUEUE_RTC_VALHandle, &QUEUE_RTC_VAL_t, 0);
						osSemaphoreRelease(LCD_SemHandle);

						if(pressed_key == 4)		// Save data
						{
							QUEUE_NEW_RTC_t.Hour = QUEUE_RTC_VAL_t.new_value;
							setet_type++;
							QUEUE_RTC_VAL_t.new_value = 1;
						}
						break;

					case 6:
						// set Minutes
						memset(QUEUE_RTC_VAL_t.name , 0, sizeof(QUEUE_RTC_VAL_t.name));
						strcat(QUEUE_RTC_VAL_t.name, "Minute: ");			// Set the setings value

						if(pressed_key == 2)
						{
							minute--;
							if(minute < 0)
							{
								minute = 59;
							}
						}

						if(pressed_key == 3)
						{
							minute++;
							if(minute > 59)
							{
								minute = 0;
							}
						}

						QUEUE_RTC_VAL_t.new_value = minute;

						xQueueSend(QUEUE_RTC_VALHandle, &QUEUE_RTC_VAL_t, 0);
						osSemaphoreRelease(LCD_SemHandle);

						if(pressed_key == 4)		// Save data
						{
							QUEUE_NEW_RTC_t.Min = QUEUE_RTC_VAL_t.new_value;
							setet_type++;
							QUEUE_RTC_VAL_t.new_value = 1;
						}
						break;

					case 7:
						// set Seconds
						memset(QUEUE_RTC_VAL_t.name , 0, sizeof(QUEUE_RTC_VAL_t.name));
						strcat(QUEUE_RTC_VAL_t.name, "Second: ");			// Set the setings value

						if(pressed_key == 2)
						{
							second--;
							if(second < 0)
							{
								second = 59;
							}
						}

						if(pressed_key == 3)
						{
							second++;
							if(second > 59)
							{
								second = 0;
							}
						}

						QUEUE_RTC_VAL_t.new_value = second;

						xQueueSend(QUEUE_RTC_VALHandle, &QUEUE_RTC_VAL_t, 0);
						osSemaphoreRelease(LCD_SemHandle);

						if(pressed_key == 4)		// Save data
						{
							QUEUE_NEW_RTC_t.Sec = QUEUE_RTC_VAL_t.new_value;
							setet_type++;
							QUEUE_RTC_VAL_t.new_value = 1;
						}
						break;

					case 8:
						xQueueSend(new_rtc_queueHandle, &QUEUE_NEW_RTC_t, 0);		// Send new time and data to rtc task

						osThreadResume(RTC_DS3231_TaskHandle);					// Start RTS task
						osThreadResume(BPE280_TaskHandle);						// Start BME280 tasl

						print_first_time_on_lcd_flag = true;						// Print new time and data on LCD

						yaer = 1;
						month = 1;
						date = 1;
						day_of_week = 1;
						hour = 1;
						minute = 1;
						second = 1;

						setet_type = 1;												// Exit from switch

						break;
				}
				osDelay(200);
		  }
	  }
  }
  /* USER CODE END start_SET_RTS_TASK */
}

void start_UART_USB_Task(void *argument)
{
  /* USER CODE BEGIN start_UART_USB_Task */
  /* Infinite loop */
  for(;;)
  {
	#if RESOURCES
	  char str_end_of_line[3] = {'\r','\n'};
	  char str_sig = '-';
	  char buff[10] = {0};

	  QUEUE_t msg;												// Make a queue
	  memset(msg.Buf, 0, sizeof(msg.Buf));						// Fill in buff '\0'
	  strcat(msg.Buf, ">>>>> Free heap memory: ");				// Add string to another (Total heap)

	  freemem = xPortGetFreeHeapSize();							// Function return how many free memory.
	  itoa(freemem, buff, 10);
	  strcat(msg.Buf, buff);
	  strcat(msg.Buf, str_end_of_line);

	  // add a hat
	  strcat(msg.Buf, "| TASK NAME  | STATUS | PRIOR | STACK | NUM |\n\r\0");

	  vTaskList(str_management_memory_str);						// Fill in str_management_memory_str array management task information

	  // Finding the  end of string
	  uint16_t buffer_size = 0;
	  while(msg.Buf[buffer_size] != '\0')
	  {
		  buffer_size ++;
	  }

	  // Add str_management_memory_str to queue string
	  int i = 0;
	  for(i = 0; str_management_memory_str[i] != '\0'; i++)
	  {
		  // add data to queue
		  msg.Buf[buffer_size + i] = str_management_memory_str[i];
	  }

	  // add a hat
	  char str_line[] = {"-----------------------\n\r"};
	  char str_head_2[] = {"| TASK NAME | ABS TIME | TASK TIME% |\n\r"};
	  strcat(msg.Buf, str_line);
	  strcat(msg.Buf, str_head_2);

	  memset(str_management_memory_str, 0, sizeof(str_management_memory_str));	// Clean buffer

	  vTaskGetRunTimeStats(str_management_memory_str);							// Function return how much time all functions running.

	  buffer_size = buffer_size + i + (sizeof(str_line)-1) + (sizeof(str_head_2)-1);
	  for(i = 0; str_management_memory_str[i] != '\0'; i++)
	  {
		  // add data to queue
		  msg.Buf[buffer_size + i] = str_management_memory_str[i];
	  }
	  //strcat(msg.Buf, "#########################################\n\r");

	  buffer_size = 0;
	  while(msg.Buf[buffer_size] != '\0')
	  {
		  buffer_size ++;
	  }
	  // Transmit over virtual comport
	  HAL_UART_Transmit_IT( &huart1, msg.Buf, buffer_size);

	  osDelay(5000);
	#else
	  osDelay(1000);
	#endif

  }
  /* USER CODE END start_UART_USB_Task */
}

void start_LCD_Task(void *argument)
{
  /* USER CODE BEGIN start_LCD_Task */
  /* Infinite loop */

	char str_hour[4] = {0};
	char str_minute[4] = {0};
	char str_msecond[4] = {0};
	char str_buf[6] = {0};
	char str_date[15] = {0};
	char str_time_buf[10] = {0};

	bool two_point = true;

	//ILI9341_Reset();
	ILI9341_Init();
	ILI9341_Fill_Screen(BLACK);
	ILI9341_Draw_Text("HELLO", 80, 10, GREEN, 6, BLACK);
	osDelay(1000);
	ILI9341_Draw_Text("Made by Oleg Demkiv", 20, 90, GREEN, 2, BLACK);
	osDelay(200);
	ILI9341_Draw_Text("STM32f103c8t", 0, 130, GREEN, 2, BLACK);
	osDelay(200);
	ILI9341_Draw_Text("FreeRTOS, CMSIS_V2", 0, 150, GREEN, 2, BLACK);
	osDelay(200);
	ILI9341_Draw_Text("7.7.2022",0, 170, GREEN, 2, BLACK);
	osDelay(200);
	ILI9341_Draw_Text("Good luck =) ",0, 190, RED, 3, BLACK);
	osDelay(5000);

	ILI9341_Fill_Screen(BLACK);

	// Draw static lines
	ILI9341_Draw_Hollow_Rectangle_Coord(0, 0, 319, 150, BLUE);

	for(;;)
	{

		if(osSemaphoreAcquire(LCD_SemHandle, 100) == osOK)	// Print RTS time and data settings
		{
			// If new time/data is selecting
			if((xQueueReceive(QUEUE_RTC_VALHandle , &QUEUE_RTC_VAL_t, 0)) == pdTRUE)
			{
				ILI9341_Fill_Screen(BLACK);
				char buf[6] = {0};
				// Convert QUEUE_RTC_VAL_t.new_value into strint
				sprintf(buf, "%d", QUEUE_RTC_VAL_t.new_value);
				ILI9341_Draw_Text(QUEUE_RTC_VAL_t.name, 10, 100, YELLOW, 2, BLACK);
				ILI9341_Draw_Text(buf, 200, 100, YELLOW, 2, BLACK);

			}

			// If data from BME280 is ready print T, H and  P
			// Waiting queue from start_BPE280_Task
			if((xQueueReceive(THPQueueHandle, &QUEUE_BME280_t, 0)) == pdTRUE)
			{
				// Print T, H and  P on LCD
				char str_temperature[5] = {0};
				char str_humidity[5] = {0};
				char str_preassure[10] = {0};

				//int preasure = QUEUE_BME280_t.pressure;
				sprintf(str_temperature, "%d", (int)QUEUE_BME280_t.temperature);
				char strthp_buf_t[1] = {0};
				strncat(strthp_buf_t, "T:", 2);
				strncat(strthp_buf_t, str_temperature, sizeof(str_temperature));
				strncat(strthp_buf_t, " C", 2);
				ILI9341_Draw_Text(strthp_buf_t, 10, 160, YELLOW, 2, BLACK);

				sprintf(str_humidity, "%d", (int)QUEUE_BME280_t.humidity);
				char strthp_buf_h[10] = {0};
				strncat(strthp_buf_h, "H:", 2);
				strncat(strthp_buf_h, str_humidity, sizeof(str_humidity));
				strncat(strthp_buf_h, " %", 2);
				ILI9341_Draw_Text(strthp_buf_h, 10, 180, YELLOW, 2, BLACK);

				sprintf(str_preassure, "%d", (int)QUEUE_BME280_t.pressure);
				char strthp_buf_p[17] = {0};
				strncat(strthp_buf_p, "P:", 2);
				strncat(strthp_buf_p, str_preassure, sizeof(str_preassure));
				strncat(strthp_buf_p, " mmRh", 4);
				ILI9341_Draw_Text(strthp_buf_p, 10, 200, YELLOW, 2, BLACK);
			}

			// If data from start_RTC_DS3231_
			// Waiting queue from start_RTC_DS3231_Task
			if(xQueueReceive(rtc_queueHandle, &QUEUE_RTC_t, 0) == pdPASS)
			{
				if(print_first_time_on_lcd_flag == true)				// If print data firsttime
				{
					// Print all clock data on LCD
					ILI9341_Fill_Screen(BLACK);

					ILI9341_Draw_Hollow_Rectangle_Coord(0, 0, 319, 150, BLUE);

					sprintf(str_hour, "%d", QUEUE_RTC_t.Hour);
					sprintf(str_minute, "%d", QUEUE_RTC_t.Min);
					sprintf(str_msecond, "%d", QUEUE_RTC_t.Sec);

					// Updating hours  on LCD
					if(QUEUE_RTC_t.Hour < 10)
					{
						char hour_buff[5] = {0};
						strncat(hour_buff, "0", 1);
						strncat(hour_buff, str_hour, sizeof(str_hour));
						ILI9341_Draw_Text(hour_buff, 10, 1, GREEN, 10, BLACK);
					}
					else
					{
						ILI9341_Draw_Text(str_hour, 10, 1, GREEN, 10, BLACK);
					}

					// Updating minutes on LCD
					if(QUEUE_RTC_t.Min < 10)
					{
						char min_buff[5] = {0};
						strncat(min_buff, "0", 1);
						strncat(min_buff, str_minute, sizeof(str_minute));
						ILI9341_Draw_Text(min_buff, 195, 1, GREEN, 10, BLACK);
					}
					else
					{
						ILI9341_Draw_Text(str_minute, 195, 1, GREEN, 10, BLACK);
					}

					// Updating seconds on LCD
					if(QUEUE_RTC_t.Sec == 0)
					{
						ILI9341_Draw_Text("  ", 215, 85, GREEN, 6, BLACK);
					}
					if(QUEUE_RTC_t.Sec < 10)
					{
						// add '0'
						char second_buff[5] = {0};
						strncat(second_buff, "0", 1);
						strncat(second_buff, str_msecond, sizeof(str_msecond));
						//strncat(str_time_buf, minute_buff, sizeof(minute_buff));
						ILI9341_Draw_Text(second_buff, 215, 85, GREEN, 6, BLACK);
					}
					else
					{
						ILI9341_Draw_Text(str_msecond, 215, 85, GREEN, 6, BLACK);
					}

					// Draw seconds line
					ILI9341_Draw_Rectangle(10, 81, (5*QUEUE_RTC_t.Sec), 4, GREEN);
					if(QUEUE_RTC_t.Sec == 0)
					{
						ILI9341_Draw_Rectangle(10, 81, 300, 4, BLACK);
					}

					// Updating blink two points on LCD
					if(two_point == true)
					{
						ILI9341_Draw_Text(":", 135, 1, GREEN, 10, BLACK);
						two_point = false;
					}
					else
					{
						ILI9341_Draw_Text(" ", 135, 1, GREEN, 10, BLACK);
						two_point = true;
					}

					// Date
					ILI9341_Draw_Text("        ", 10, 86, BLUE, 4, BLACK);
					memset(str_buf, 0 , sizeof(str_buf));
					sprintf(str_date, "%d", QUEUE_RTC_t.Date);

					strncat(str_date, ".", 1);
					sprintf(str_buf, "%d", QUEUE_RTC_t.Month);
					strncat(str_date, str_buf, sizeof(str_buf));
					memset(str_buf, 0 , sizeof(str_buf));
					sprintf(str_buf, "%d", QUEUE_RTC_t.Year);
					strncat(str_date, ".", 1);
					strncat(str_date, str_buf, sizeof(str_buf));
					ILI9341_Draw_Text(str_date, 10, 86, BLUE, 4, BLACK);

					ILI9341_Draw_Text("           ", 10, 120, BLUE, 2, BLACK);

					switch (QUEUE_RTC_t.DaysOfWeek)
					{
						case 1:
							ILI9341_Draw_Text("MONDAY", 10, 120, BLUE, 2, BLACK);
							break;
						case 2:
							ILI9341_Draw_Text("TUESDAY", 10, 120, BLUE, 2, BLACK);
							break;
						case 3:
							ILI9341_Draw_Text("WEDNESDAY", 10, 120, BLUE, 2, BLACK);
							break;
						case 4:
							ILI9341_Draw_Text("THURSDAY", 10, 120, BLUE, 2, BLACK);
							break;
						case 5:
							ILI9341_Draw_Text("FRIDAY", 10, 120, BLUE, 2, BLACK);
							break;
						case 6:
							ILI9341_Draw_Text("SATURDAY", 10, 120, BLUE, 2, BLACK);
							break;
						case 7:
							ILI9341_Draw_Text("SUNDAY", 10, 120, BLUE, 2, BLACK);
							break;
					}

					print_first_time_on_lcd_flag = false;

				}
				else
				{
					sprintf(str_hour, "%d", QUEUE_RTC_t.Hour);
					sprintf(str_minute, "%d", QUEUE_RTC_t.Min);
					sprintf(str_msecond, "%d", QUEUE_RTC_t.Sec);

					// Updating hours and minutes on LCD
					if(QUEUE_RTC_t.Sec == 0)
					{
						if(QUEUE_RTC_t.Min < 10)
						{
							char min_buff[5] = {0};
							strncat(min_buff, "0", 1);
							strncat(min_buff, str_minute, sizeof(str_minute));
							ILI9341_Draw_Text(min_buff, 195, 1, GREEN, 10, BLACK);
						}
						else
						{
							ILI9341_Draw_Text(str_minute, 195, 1, GREEN, 10, BLACK);
						}

						if(QUEUE_RTC_t.Hour < 10)
						{
							char hour_buff[5] = {0};
							strncat(hour_buff, "0", 1);
							strncat(hour_buff, str_hour, sizeof(str_hour));
							ILI9341_Draw_Text(hour_buff, 10, 1, GREEN, 10, BLACK);
						}
						else
						{
							ILI9341_Draw_Text(str_hour, 10, 1, GREEN, 10, BLACK);
						}
					}

					// Updating seconds on LCD
					if(QUEUE_RTC_t.Sec == 0)
					{
						ILI9341_Draw_Text("  ", 215, 85, GREEN, 6, BLACK);
					}
					if(QUEUE_RTC_t.Sec < 10)
					{
						// add '0'
						char second_buff[5] = {0};
						strncat(second_buff, "0", 1);
						strncat(second_buff, str_msecond, sizeof(str_msecond));
						ILI9341_Draw_Text(second_buff, 215, 85, GREEN, 6, BLACK);
					}
					else
					{
						ILI9341_Draw_Text(str_msecond, 215, 85, GREEN, 6, BLACK);
					}

					// Draw seconds line
					ILI9341_Draw_Rectangle(10, 81, (5*QUEUE_RTC_t.Sec), 4, GREEN);
					if(QUEUE_RTC_t.Sec == 0)
					{
						ILI9341_Draw_Rectangle(10, 81, 300, 4, BLACK);
					}

					// Updating blink two points on LCD
					if(two_point == true)
					{
						ILI9341_Draw_Text(":", 135, 1, GREEN, 10, BLACK);
						two_point = false;
					}
					else
					{
						ILI9341_Draw_Text(" ", 135, 1, GREEN, 10, BLACK);
						two_point = true;
					}

					if(QUEUE_RTC_t.Sec == 0)
					{
						// Date
						ILI9341_Draw_Text("        ", 10, 86, BLUE, 4, BLACK);
						memset(str_buf, 0 , sizeof(str_buf));
						sprintf(str_date, "%d", QUEUE_RTC_t.Date);

						strncat(str_date, ".", 1);
						sprintf(str_buf, "%d", QUEUE_RTC_t.Month);
						strncat(str_date, str_buf, sizeof(str_buf));
						memset(str_buf, 0 , sizeof(str_buf));
						sprintf(str_buf, "%d", QUEUE_RTC_t.Year);
						strncat(str_date, ".", 1);
						strncat(str_date, str_buf, sizeof(str_buf));
						ILI9341_Draw_Text(str_date, 10, 86, BLUE, 4, BLACK);

						ILI9341_Draw_Text("           ", 10, 120, BLUE, 2, BLACK);

						switch (QUEUE_RTC_t.DaysOfWeek)
						{
							case 1:
								ILI9341_Draw_Text("MONDAY", 10, 120, BLUE, 2, BLACK);
								break;
							case 2:
								ILI9341_Draw_Text("TUESDAY", 10, 120, BLUE, 2, BLACK);
								break;
							case 3:
								ILI9341_Draw_Text("WEDNESDAY", 10, 120, BLUE, 2, BLACK);
								break;
							case 4:
								ILI9341_Draw_Text("THURSDAY", 10, 120, BLUE, 2, BLACK);
								break;
							case 5:
								ILI9341_Draw_Text("FRIDAY", 10, 120, BLUE, 2, BLACK);
								break;
							case 6:
								ILI9341_Draw_Text("SATURDAY", 10, 120, BLUE, 2, BLACK);
								break;
							case 7:
								ILI9341_Draw_Text("SUNDAY", 10, 120, BLUE, 2, BLACK);
								break;
						}

					}

				}
			}
		}   // semaphore

	}
  /* USER CODE END start_LCD_Task */
}

void HAL_TIM_PeriodElapsedCallback(TIM_HandleTypeDef *htim)
{
  /* USER CODE BEGIN Callback 0 */

	// NEw VERSION
	if (htim->Instance == TIM3)
	{
		BaseType_t xHigherPriorityTaskWoken;

		uint16_t key_1 = 1;
		uint16_t key_2 = 2;
		uint16_t key_3 = 3;
		uint16_t key_4 = 4;

		if(HAL_GPIO_ReadPin(GPIOA, KEY_1_Pin) == GPIO_PIN_RESET)
		{
			//HAL_GPIO_TogglePin(GPIOC, LED_Pin);
			state = true;
			HAL_TIM_Base_Stop_IT(&htim3);

			if((xQueueSendFromISR( buttonQueueHandle, &key_1, &xHigherPriorityTaskWoken )) != 1)		// Send queue to main task
			{
				// Error
			}
			// Set semaphore
			osSemaphoreRelease(set_rts_val_SemHandle);
		}

		if(HAL_GPIO_ReadPin(GPIOA, KEY_2_Pin) == GPIO_PIN_RESET)
		{
			//HAL_GPIO_TogglePin(GPIOC, LED_Pin);
			state = true;
			HAL_TIM_Base_Stop_IT(&htim3);

			if((xQueueSendFromISR( buttonQueueHandle, &key_2, &xHigherPriorityTaskWoken )) != 1)		// Send queue to main task
			{
				// Error
			}
			// Set semaphore
			osSemaphoreRelease(set_rts_val_SemHandle);
		}

		if(HAL_GPIO_ReadPin(GPIOA, KEY_3_Pin) == GPIO_PIN_RESET)
		{
			//HAL_GPIO_TogglePin(GPIOC, LED_Pin);
			state = true;
			HAL_TIM_Base_Stop_IT(&htim3);

			if((xQueueSendFromISR( buttonQueueHandle, &key_3, &xHigherPriorityTaskWoken )) != 1)		// Send queue to main task
			{
				// Error
			}
			// Set semaphore
			osSemaphoreRelease(set_rts_val_SemHandle);
		}

		if(HAL_GPIO_ReadPin(GPIOA, KEY_4_Pin) == GPIO_PIN_RESET)
		{
			//HAL_GPIO_TogglePin(GPIOC, LED_Pin);
			state = true;
			HAL_TIM_Base_Stop_IT(&htim3);

			if((xQueueSendFromISR( buttonQueueHandle, &key_4, &xHigherPriorityTaskWoken )) != 1)		// Send queue to main task
			{
				// Error
			}
			// Set semaphore
			osSemaphoreRelease(set_rts_val_SemHandle);
		}
	}

	// Timer for measure how many time task was running.
	if(htim->Instance == TIM2)
	{
		ulHighFreqebcyTimerTicks++;					// Update time tasks counter
	}

  /* USER CODE END Callback 0 */
  if (htim->Instance == TIM4) {
    HAL_IncTick();
  }
}

void Error_Handler(void)
{
  __disable_irq();
  while (1)
  {
  }
}
